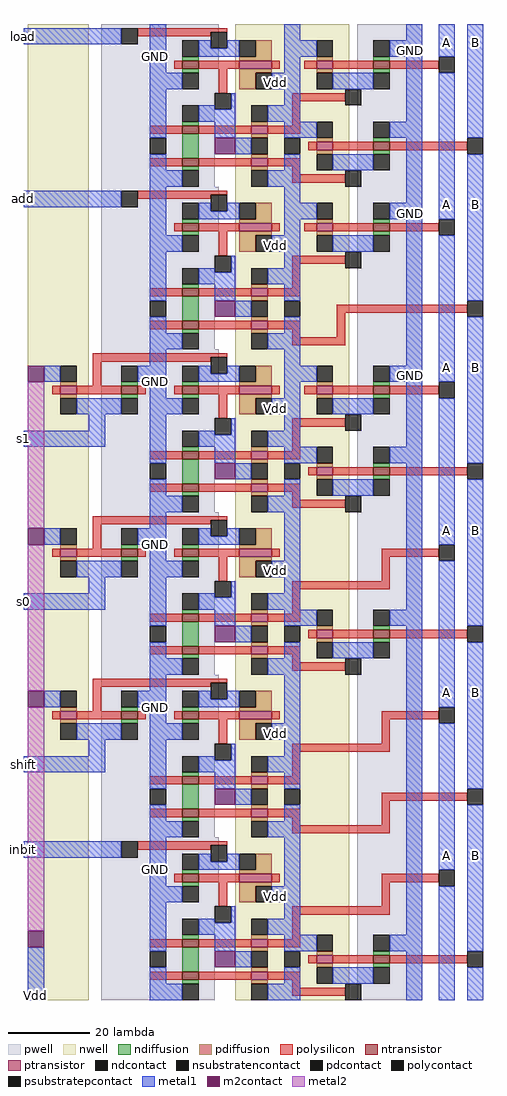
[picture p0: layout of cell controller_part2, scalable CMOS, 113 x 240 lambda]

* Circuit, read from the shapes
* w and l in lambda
.subckt controller_part2 A B GND Vdd add inbit load s0 s1 shift
M1 GND n1 shift GND nfet w=4 l=2
M2 GND n2 s0 GND nfet w=4 l=2
M3 GND n3 s1 GND nfet w=4 l=2
M4 n4 n5 GND GND nfet w=4 l=2
M5 n6 A n4 GND nfet w=4 l=2
M6 inbit n6 GND GND nfet w=4 l=2
M7 n7 B GND GND nfet w=4 l=2
M8 n8 A n7 GND nfet w=4 l=2
M9 n1 n8 GND GND nfet w=4 l=2
M10 n9 n10 GND GND nfet w=4 l=2
M11 n11 A n9 GND nfet w=4 l=2
M12 n2 n11 GND GND nfet w=4 l=2
M13 n12 n13 GND GND nfet w=4 l=2
M14 n14 n15 n12 GND nfet w=4 l=2
M15 n3 n14 GND GND nfet w=4 l=2
M16 n16 B GND GND nfet w=4 l=2
M17 n17 n18 n16 GND nfet w=4 l=2
M18 add n17 GND GND nfet w=4 l=2
M19 n19 n20 GND GND nfet w=4 l=2
M20 n21 n22 n19 GND nfet w=4 l=2
M21 load n21 GND GND nfet w=4 l=2
M22 GND B n5 GND nfet w=4 l=2
M23 GND B n10 GND nfet w=4 l=2
M24 GND B n13 GND nfet w=4 l=2
M25 GND A n15 GND nfet w=4 l=2
M26 GND A n18 GND nfet w=4 l=2
M27 GND B n20 GND nfet w=4 l=2
M28 GND A n22 GND nfet w=4 l=2
M29 Vdd n1 shift n23 pfet w=4 l=2
M30 Vdd n2 s0 n23 pfet w=4 l=2
M31 Vdd n3 s1 n23 pfet w=4 l=2
M32 inbit n6 Vdd Vdd pfet w=8 l=2
M33 n1 n8 Vdd Vdd pfet w=8 l=2
M34 n2 n11 Vdd Vdd pfet w=8 l=2
M35 n3 n14 Vdd Vdd pfet w=8 l=2
M36 add n17 Vdd Vdd pfet w=8 l=2
M37 load n21 Vdd Vdd pfet w=8 l=2
M38 n6 n5 Vdd Vdd pfet w=4 l=2
M39 Vdd A n6 Vdd pfet w=4 l=2
M40 n8 B Vdd Vdd pfet w=4 l=2
M41 Vdd A n8 Vdd pfet w=4 l=2
M42 n11 n10 Vdd Vdd pfet w=4 l=2
M43 Vdd A n11 Vdd pfet w=4 l=2
M44 n14 n13 Vdd Vdd pfet w=4 l=2
M45 Vdd n15 n14 Vdd pfet w=4 l=2
M46 n17 B Vdd Vdd pfet w=4 l=2
M47 Vdd n18 n17 Vdd pfet w=4 l=2
M48 n21 n20 Vdd Vdd pfet w=4 l=2
M49 Vdd n22 n21 Vdd pfet w=4 l=2
M50 Vdd B n5 Vdd pfet w=4 l=2
M51 Vdd B n10 Vdd pfet w=4 l=2
M52 Vdd B n13 Vdd pfet w=4 l=2
M53 Vdd A n15 Vdd pfet w=4 l=2
M54 Vdd A n18 Vdd pfet w=4 l=2
M55 Vdd B n20 Vdd pfet w=4 l=2
M56 Vdd A n22 Vdd pfet w=4 l=2
.ends

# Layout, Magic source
magic
tech scmos
<< pwell >>
rect -101 33 -72 50
rect -101 10 -73 33
rect -101 -7 -72 10
rect -101 -30 -73 -7
rect -101 -47 -72 -30
rect -101 -70 -73 -47
rect -101 -87 -72 -70
rect -101 -110 -73 -87
rect -101 -127 -72 -110
rect -101 -150 -73 -127
rect -101 -167 -72 -150
rect -101 -190 -73 -167
rect -38 -190 -22 50
<< nwell >>
rect -119 -190 -104 50
rect -68 -190 -40 50
<< polysilicon >>
rect -92 48 -70 49
rect -92 47 -74 48
rect -83 39 -81 41
rect -77 39 -67 41
rect -59 39 -57 41
rect -51 39 -48 41
rect -44 39 -34 41
rect -30 39 -18 41
rect -72 33 -70 39
rect -54 31 -41 33
rect -54 25 -52 31
rect -89 23 -81 25
rect -77 23 -64 25
rect -60 23 -52 25
rect -50 19 -48 21
rect -44 19 -34 21
rect -30 19 -11 21
rect -89 15 -81 17
rect -77 15 -64 17
rect -60 15 -52 17
rect -54 13 -52 15
rect -54 11 -41 13
rect -92 8 -70 9
rect -92 7 -74 8
rect -83 -1 -81 1
rect -77 -1 -67 1
rect -59 -1 -57 1
rect -51 -1 -48 1
rect -44 -1 -34 1
rect -30 -1 -18 1
rect -72 -7 -70 -1
rect -54 -9 -41 -7
rect -54 -15 -52 -9
rect -89 -17 -81 -15
rect -77 -17 -64 -15
rect -60 -17 -52 -15
rect -43 -21 -11 -19
rect -89 -25 -81 -23
rect -77 -25 -64 -23
rect -60 -25 -52 -23
rect -54 -27 -52 -25
rect -43 -27 -41 -21
rect -54 -29 -41 -27
rect -103 -32 -70 -31
rect -103 -33 -74 -32
rect -103 -39 -101 -33
rect -113 -41 -111 -39
rect -107 -41 -96 -39
rect -92 -41 -90 -39
rect -83 -41 -81 -39
rect -77 -41 -67 -39
rect -59 -41 -57 -39
rect -51 -41 -48 -39
rect -44 -41 -34 -39
rect -30 -41 -18 -39
rect -72 -47 -70 -41
rect -54 -49 -41 -47
rect -54 -55 -52 -49
rect -89 -57 -81 -55
rect -77 -57 -64 -55
rect -60 -57 -52 -55
rect -50 -61 -48 -59
rect -44 -61 -34 -59
rect -30 -61 -11 -59
rect -89 -65 -81 -63
rect -77 -65 -64 -63
rect -60 -65 -52 -63
rect -54 -67 -52 -65
rect -54 -69 -41 -67
rect -103 -72 -70 -71
rect -103 -73 -74 -72
rect -103 -79 -101 -73
rect -113 -81 -111 -79
rect -107 -81 -96 -79
rect -92 -81 -90 -79
rect -83 -81 -81 -79
rect -77 -81 -67 -79
rect -59 -81 -57 -79
rect -32 -81 -18 -79
rect -72 -87 -70 -81
rect -32 -87 -30 -81
rect -54 -89 -30 -87
rect -54 -95 -52 -89
rect -89 -97 -81 -95
rect -77 -97 -64 -95
rect -60 -97 -52 -95
rect -50 -101 -48 -99
rect -44 -101 -34 -99
rect -30 -101 -11 -99
rect -89 -105 -81 -103
rect -77 -105 -64 -103
rect -60 -105 -52 -103
rect -54 -107 -52 -105
rect -54 -109 -41 -107
rect -103 -112 -70 -111
rect -103 -113 -74 -112
rect -103 -119 -101 -113
rect -113 -121 -111 -119
rect -107 -121 -96 -119
rect -92 -121 -90 -119
rect -83 -121 -81 -119
rect -77 -121 -67 -119
rect -59 -121 -57 -119
rect -32 -121 -18 -119
rect -72 -127 -70 -121
rect -32 -127 -30 -121
rect -54 -129 -30 -127
rect -54 -135 -52 -129
rect -89 -137 -81 -135
rect -77 -137 -64 -135
rect -60 -137 -52 -135
rect -32 -141 -11 -139
rect -89 -145 -81 -143
rect -77 -145 -64 -143
rect -60 -145 -52 -143
rect -54 -147 -52 -145
rect -32 -147 -30 -141
rect -54 -149 -30 -147
rect -92 -152 -70 -151
rect -92 -153 -74 -152
rect -83 -161 -81 -159
rect -77 -161 -67 -159
rect -59 -161 -57 -159
rect -32 -161 -18 -159
rect -72 -167 -70 -161
rect -32 -167 -30 -161
rect -54 -169 -30 -167
rect -54 -175 -52 -169
rect -89 -177 -81 -175
rect -77 -177 -64 -175
rect -60 -177 -52 -175
rect -50 -181 -48 -179
rect -44 -181 -34 -179
rect -30 -181 -11 -179
rect -89 -185 -81 -183
rect -77 -185 -64 -183
rect -60 -185 -52 -183
rect -54 -187 -52 -185
rect -54 -189 -41 -187
<< ndiffusion >>
rect -81 41 -77 42
rect -34 41 -30 42
rect -81 38 -77 39
rect -34 38 -30 39
rect -81 25 -77 26
rect -81 17 -77 23
rect -34 21 -30 22
rect -81 14 -77 15
rect -34 18 -30 19
rect -81 1 -77 2
rect -34 1 -30 2
rect -81 -2 -77 -1
rect -34 -2 -30 -1
rect -81 -15 -77 -14
rect -81 -23 -77 -17
rect -81 -26 -77 -25
rect -96 -39 -92 -38
rect -81 -39 -77 -38
rect -34 -39 -30 -38
rect -96 -42 -92 -41
rect -81 -42 -77 -41
rect -34 -42 -30 -41
rect -81 -55 -77 -54
rect -81 -63 -77 -57
rect -34 -59 -30 -58
rect -81 -66 -77 -65
rect -34 -62 -30 -61
rect -96 -79 -92 -78
rect -81 -79 -77 -78
rect -96 -82 -92 -81
rect -81 -82 -77 -81
rect -81 -95 -77 -94
rect -81 -103 -77 -97
rect -34 -99 -30 -98
rect -81 -106 -77 -105
rect -34 -102 -30 -101
rect -96 -119 -92 -118
rect -81 -119 -77 -118
rect -96 -122 -92 -121
rect -81 -122 -77 -121
rect -81 -135 -77 -134
rect -81 -143 -77 -137
rect -81 -146 -77 -145
rect -81 -159 -77 -158
rect -81 -162 -77 -161
rect -81 -175 -77 -174
rect -81 -183 -77 -177
rect -34 -179 -30 -178
rect -81 -186 -77 -185
rect -34 -182 -30 -181
<< pdiffusion >>
rect -63 42 -59 46
rect -67 41 -59 42
rect -48 41 -44 42
rect -67 38 -59 39
rect -67 34 -63 38
rect -48 38 -44 39
rect -64 25 -60 26
rect -64 22 -60 23
rect -48 21 -44 22
rect -48 18 -44 19
rect -64 17 -60 18
rect -64 14 -60 15
rect -63 2 -59 6
rect -67 1 -59 2
rect -48 1 -44 2
rect -67 -2 -59 -1
rect -67 -6 -63 -2
rect -48 -2 -44 -1
rect -64 -15 -60 -14
rect -64 -18 -60 -17
rect -64 -23 -60 -22
rect -64 -26 -60 -25
rect -111 -39 -107 -38
rect -63 -38 -59 -34
rect -67 -39 -59 -38
rect -48 -39 -44 -38
rect -111 -42 -107 -41
rect -67 -42 -59 -41
rect -67 -46 -63 -42
rect -48 -42 -44 -41
rect -64 -55 -60 -54
rect -64 -58 -60 -57
rect -48 -59 -44 -58
rect -48 -62 -44 -61
rect -64 -63 -60 -62
rect -64 -66 -60 -65
rect -111 -79 -107 -78
rect -63 -78 -59 -74
rect -67 -79 -59 -78
rect -111 -82 -107 -81
rect -67 -82 -59 -81
rect -67 -86 -63 -82
rect -64 -95 -60 -94
rect -64 -98 -60 -97
rect -48 -99 -44 -98
rect -48 -102 -44 -101
rect -64 -103 -60 -102
rect -64 -106 -60 -105
rect -111 -119 -107 -118
rect -63 -118 -59 -114
rect -67 -119 -59 -118
rect -111 -122 -107 -121
rect -67 -122 -59 -121
rect -67 -126 -63 -122
rect -64 -135 -60 -134
rect -64 -138 -60 -137
rect -64 -143 -60 -142
rect -64 -146 -60 -145
rect -63 -158 -59 -154
rect -67 -159 -59 -158
rect -67 -162 -59 -161
rect -67 -166 -63 -162
rect -64 -175 -60 -174
rect -64 -178 -60 -177
rect -48 -179 -44 -178
rect -48 -182 -44 -181
rect -64 -183 -60 -182
rect -64 -186 -60 -185
<< metal1 >>
rect -120 45 -96 49
rect -89 38 -85 50
rect -77 44 -74 46
rect -56 46 -52 50
rect -26 46 -22 50
rect -70 44 -67 46
rect -77 42 -67 44
rect -56 42 -48 46
rect -30 42 -22 46
rect -56 38 -52 42
rect -89 34 -81 38
rect -59 34 -52 38
rect -44 34 -34 38
rect -89 22 -85 34
rect -77 29 -73 30
rect -69 29 -68 33
rect -56 30 -52 34
rect -77 26 -68 29
rect -60 26 -52 30
rect -26 26 -22 42
rect -73 22 -68 26
rect -56 22 -48 26
rect -30 22 -22 26
rect -68 18 -64 22
rect -89 14 -85 18
rect -56 14 -52 18
rect -44 14 -34 18
rect -89 10 -81 14
rect -60 10 -52 14
rect -120 5 -96 9
rect -89 -2 -85 10
rect -77 4 -74 6
rect -56 6 -52 10
rect -26 6 -22 22
rect -70 4 -67 6
rect -77 2 -67 4
rect -56 2 -48 6
rect -30 2 -22 6
rect -56 -2 -52 2
rect -89 -6 -81 -2
rect -59 -6 -52 -2
rect -44 -6 -34 -2
rect -89 -18 -85 -6
rect -77 -11 -73 -10
rect -69 -11 -68 -7
rect -56 -10 -52 -6
rect -77 -14 -68 -11
rect -60 -14 -52 -10
rect -73 -18 -68 -14
rect -56 -18 -52 -14
rect -68 -22 -64 -18
rect -89 -26 -85 -22
rect -56 -26 -52 -22
rect -89 -30 -81 -26
rect -60 -30 -52 -26
rect -89 -34 -85 -30
rect -115 -38 -111 -34
rect -92 -38 -85 -34
rect -77 -36 -74 -34
rect -56 -34 -52 -30
rect -26 -34 -22 2
rect -70 -36 -67 -34
rect -77 -38 -67 -36
rect -56 -38 -48 -34
rect -30 -38 -22 -34
rect -89 -42 -85 -38
rect -56 -42 -52 -38
rect -107 -46 -96 -42
rect -89 -46 -81 -42
rect -59 -46 -52 -42
rect -44 -46 -34 -42
rect -104 -50 -100 -46
rect -120 -54 -100 -50
rect -89 -58 -85 -46
rect -77 -51 -73 -50
rect -69 -51 -68 -47
rect -56 -50 -52 -46
rect -77 -54 -68 -51
rect -60 -54 -52 -50
rect -26 -54 -22 -38
rect -73 -58 -68 -54
rect -56 -58 -48 -54
rect -30 -58 -22 -54
rect -68 -62 -64 -58
rect -89 -66 -85 -62
rect -56 -66 -52 -62
rect -44 -66 -34 -62
rect -89 -70 -81 -66
rect -60 -70 -52 -66
rect -89 -74 -85 -70
rect -115 -78 -111 -74
rect -92 -78 -85 -74
rect -77 -76 -74 -74
rect -70 -76 -67 -74
rect -77 -78 -67 -76
rect -89 -82 -85 -78
rect -56 -82 -52 -70
rect -107 -86 -96 -82
rect -89 -86 -81 -82
rect -59 -86 -52 -82
rect -104 -90 -100 -86
rect -120 -94 -100 -90
rect -89 -98 -85 -86
rect -77 -91 -73 -90
rect -69 -91 -68 -87
rect -56 -90 -52 -86
rect -77 -94 -68 -91
rect -60 -94 -52 -90
rect -26 -94 -22 -58
rect -73 -98 -68 -94
rect -56 -98 -48 -94
rect -30 -98 -22 -94
rect -68 -102 -64 -98
rect -89 -106 -85 -102
rect -56 -106 -52 -102
rect -44 -106 -34 -102
rect -89 -110 -81 -106
rect -60 -110 -52 -106
rect -89 -114 -85 -110
rect -115 -118 -111 -114
rect -92 -118 -85 -114
rect -77 -116 -74 -114
rect -70 -116 -67 -114
rect -77 -118 -67 -116
rect -89 -122 -85 -118
rect -56 -122 -52 -110
rect -107 -126 -96 -122
rect -89 -126 -81 -122
rect -59 -126 -52 -122
rect -104 -130 -100 -126
rect -120 -134 -100 -130
rect -89 -138 -85 -126
rect -77 -131 -73 -130
rect -69 -131 -68 -127
rect -56 -130 -52 -126
rect -77 -134 -68 -131
rect -60 -134 -52 -130
rect -73 -138 -68 -134
rect -56 -138 -52 -134
rect -68 -142 -64 -138
rect -89 -146 -85 -142
rect -56 -146 -52 -142
rect -89 -150 -81 -146
rect -60 -150 -52 -146
rect -120 -155 -96 -151
rect -89 -162 -85 -150
rect -77 -156 -74 -154
rect -70 -156 -67 -154
rect -77 -158 -67 -156
rect -56 -162 -52 -150
rect -89 -166 -81 -162
rect -59 -166 -52 -162
rect -119 -190 -115 -177
rect -89 -178 -85 -166
rect -77 -171 -73 -170
rect -69 -171 -68 -167
rect -56 -170 -52 -166
rect -77 -174 -68 -171
rect -60 -174 -52 -170
rect -26 -174 -22 -98
rect -73 -178 -68 -174
rect -56 -178 -48 -174
rect -30 -178 -22 -174
rect -68 -182 -64 -178
rect -89 -186 -85 -182
rect -56 -186 -52 -182
rect -44 -186 -34 -182
rect -89 -190 -81 -186
rect -60 -190 -52 -186
rect -26 -190 -22 -178
rect -18 42 -14 50
rect -18 2 -14 38
rect -18 -38 -14 -2
rect -18 -78 -14 -42
rect -18 -118 -14 -82
rect -18 -158 -14 -122
rect -18 -190 -14 -162
rect -11 22 -7 50
rect -11 -18 -7 18
rect -11 -58 -7 -22
rect -11 -98 -7 -62
rect -11 -138 -7 -102
rect -11 -178 -7 -142
rect -11 -190 -7 -182
<< metal2 >>
rect -119 -74 -115 -38
rect -119 -114 -115 -78
rect -119 -173 -115 -118
<< ntransistor >>
rect -81 39 -77 41
rect -34 39 -30 41
rect -81 23 -77 25
rect -34 19 -30 21
rect -81 15 -77 17
rect -81 -1 -77 1
rect -34 -1 -30 1
rect -81 -17 -77 -15
rect -81 -25 -77 -23
rect -96 -41 -92 -39
rect -81 -41 -77 -39
rect -34 -41 -30 -39
rect -81 -57 -77 -55
rect -34 -61 -30 -59
rect -81 -65 -77 -63
rect -96 -81 -92 -79
rect -81 -81 -77 -79
rect -81 -97 -77 -95
rect -34 -101 -30 -99
rect -81 -105 -77 -103
rect -96 -121 -92 -119
rect -81 -121 -77 -119
rect -81 -137 -77 -135
rect -81 -145 -77 -143
rect -81 -161 -77 -159
rect -81 -177 -77 -175
rect -34 -181 -30 -179
rect -81 -185 -77 -183
<< ptransistor >>
rect -67 39 -59 41
rect -48 39 -44 41
rect -64 23 -60 25
rect -48 19 -44 21
rect -64 15 -60 17
rect -67 -1 -59 1
rect -48 -1 -44 1
rect -64 -17 -60 -15
rect -64 -25 -60 -23
rect -111 -41 -107 -39
rect -67 -41 -59 -39
rect -48 -41 -44 -39
rect -64 -57 -60 -55
rect -48 -61 -44 -59
rect -64 -65 -60 -63
rect -111 -81 -107 -79
rect -67 -81 -59 -79
rect -64 -97 -60 -95
rect -48 -101 -44 -99
rect -64 -105 -60 -103
rect -111 -121 -107 -119
rect -67 -121 -59 -119
rect -64 -137 -60 -135
rect -64 -145 -60 -143
rect -67 -161 -59 -159
rect -64 -177 -60 -175
rect -48 -181 -44 -179
rect -64 -185 -60 -183
<< polycontact >>
rect -96 45 -92 49
rect -74 44 -70 48
rect -18 38 -14 42
rect -73 29 -69 33
rect -41 30 -37 34
rect -11 18 -7 22
rect -41 10 -37 14
rect -96 5 -92 9
rect -74 4 -70 8
rect -18 -2 -14 2
rect -73 -11 -69 -7
rect -41 -10 -37 -6
rect -11 -22 -7 -18
rect -74 -36 -70 -32
rect -18 -42 -14 -38
rect -73 -51 -69 -47
rect -41 -50 -37 -46
rect -11 -62 -7 -58
rect -41 -70 -37 -66
rect -74 -76 -70 -72
rect -18 -82 -14 -78
rect -73 -91 -69 -87
rect -11 -102 -7 -98
rect -41 -110 -37 -106
rect -74 -116 -70 -112
rect -18 -122 -14 -118
rect -73 -131 -69 -127
rect -11 -142 -7 -138
rect -96 -155 -92 -151
rect -74 -156 -70 -152
rect -18 -162 -14 -158
rect -73 -171 -69 -167
rect -11 -182 -7 -178
rect -41 -190 -37 -186
<< ndcontact >>
rect -81 42 -77 46
rect -34 42 -30 46
rect -81 34 -77 38
rect -34 34 -30 38
rect -81 26 -77 30
rect -34 22 -30 26
rect -81 10 -77 14
rect -34 14 -30 18
rect -81 2 -77 6
rect -34 2 -30 6
rect -81 -6 -77 -2
rect -34 -6 -30 -2
rect -81 -14 -77 -10
rect -81 -30 -77 -26
rect -96 -38 -92 -34
rect -81 -38 -77 -34
rect -34 -38 -30 -34
rect -96 -46 -92 -42
rect -81 -46 -77 -42
rect -34 -46 -30 -42
rect -81 -54 -77 -50
rect -34 -58 -30 -54
rect -81 -70 -77 -66
rect -34 -66 -30 -62
rect -96 -78 -92 -74
rect -81 -78 -77 -74
rect -96 -86 -92 -82
rect -81 -86 -77 -82
rect -81 -94 -77 -90
rect -34 -98 -30 -94
rect -81 -110 -77 -106
rect -34 -106 -30 -102
rect -96 -118 -92 -114
rect -81 -118 -77 -114
rect -96 -126 -92 -122
rect -81 -126 -77 -122
rect -81 -134 -77 -130
rect -81 -150 -77 -146
rect -81 -158 -77 -154
rect -81 -166 -77 -162
rect -81 -174 -77 -170
rect -34 -178 -30 -174
rect -81 -190 -77 -186
rect -34 -186 -30 -182
<< pdcontact >>
rect -67 42 -63 46
rect -48 42 -44 46
rect -63 34 -59 38
rect -48 34 -44 38
rect -64 26 -60 30
rect -48 22 -44 26
rect -64 18 -60 22
rect -64 10 -60 14
rect -48 14 -44 18
rect -67 2 -63 6
rect -48 2 -44 6
rect -63 -6 -59 -2
rect -48 -6 -44 -2
rect -64 -14 -60 -10
rect -64 -22 -60 -18
rect -64 -30 -60 -26
rect -111 -38 -107 -34
rect -67 -38 -63 -34
rect -48 -38 -44 -34
rect -111 -46 -107 -42
rect -63 -46 -59 -42
rect -48 -46 -44 -42
rect -64 -54 -60 -50
rect -48 -58 -44 -54
rect -64 -62 -60 -58
rect -64 -70 -60 -66
rect -48 -66 -44 -62
rect -111 -78 -107 -74
rect -67 -78 -63 -74
rect -111 -86 -107 -82
rect -63 -86 -59 -82
rect -64 -94 -60 -90
rect -48 -98 -44 -94
rect -64 -102 -60 -98
rect -64 -110 -60 -106
rect -48 -106 -44 -102
rect -111 -118 -107 -114
rect -67 -118 -63 -114
rect -111 -126 -107 -122
rect -63 -126 -59 -122
rect -64 -134 -60 -130
rect -64 -142 -60 -138
rect -64 -150 -60 -146
rect -67 -158 -63 -154
rect -63 -166 -59 -162
rect -64 -174 -60 -170
rect -48 -178 -44 -174
rect -64 -182 -60 -178
rect -64 -190 -60 -186
rect -48 -186 -44 -182
<< m2contact >>
rect -73 18 -68 22
rect -73 -22 -68 -18
rect -119 -38 -115 -34
rect -73 -62 -68 -58
rect -119 -78 -115 -74
rect -73 -102 -68 -98
rect -119 -118 -115 -114
rect -73 -142 -68 -138
rect -119 -177 -115 -173
rect -73 -182 -68 -178
<< psubstratepcontact >>
rect -89 18 -85 22
rect -89 -22 -85 -18
rect -89 -62 -85 -58
rect -89 -102 -85 -98
rect -89 -142 -85 -138
rect -89 -182 -85 -178
<< nsubstratencontact >>
rect -56 18 -52 22
rect -56 -22 -52 -18
rect -56 -62 -52 -58
rect -56 -102 -52 -98
rect -56 -142 -52 -138
rect -56 -182 -52 -178
<< labels >>
rlabel metal1 -59 34 -57 37 1 Vdd
rlabel metal1 -88 42 -87 42 3 GND
rlabel metal1 -26 43 -24 44 7 GND
rlabel metal1 -18 45 -14 46 5 A
rlabel metal1 -11 45 -7 46 6 B
rlabel metal1 -59 -6 -57 -3 1 Vdd
rlabel metal1 -26 3 -24 4 7 GND
rlabel metal1 -18 5 -14 6 5 A
rlabel metal1 -11 5 -7 6 6 B
rlabel metal1 -59 -46 -57 -43 1 Vdd
rlabel metal1 -88 -38 -87 -38 3 GND
rlabel metal1 -26 -37 -24 -36 7 GND
rlabel metal1 -18 -35 -14 -34 5 A
rlabel metal1 -11 -35 -7 -34 6 B
rlabel metal1 -59 -86 -57 -83 1 Vdd
rlabel metal1 -88 -78 -87 -78 3 GND
rlabel metal1 -18 -75 -14 -74 5 A
rlabel metal1 -11 -75 -7 -74 6 B
rlabel metal1 -59 -126 -57 -123 1 Vdd
rlabel metal1 -88 -118 -87 -118 3 GND
rlabel metal1 -18 -115 -14 -114 5 A
rlabel metal1 -11 -115 -7 -114 6 B
rlabel metal1 -59 -166 -57 -163 1 Vdd
rlabel metal1 -88 -158 -87 -158 3 GND
rlabel metal1 -18 -155 -14 -154 5 A
rlabel metal1 -11 -155 -7 -154 6 B
rlabel metal1 -119 -190 -115 -188 2 Vdd
rlabel metal1 -120 -155 -120 -151 3 inbit
rlabel metal1 -120 -94 -120 -90 3 s0
rlabel metal1 -120 -54 -120 -50 3 s1
rlabel metal1 -120 45 -120 49 4 load
rlabel metal1 -120 -134 -120 -130 3 shift
rlabel metal1 -120 5 -120 9 3 add
<< end >>
